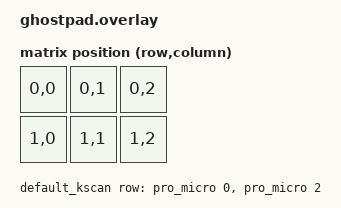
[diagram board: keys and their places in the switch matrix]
#include <dt-bindings/zmk/matrix-transform.h>

/{
    chosen {
        zmk,kscan = &defaultscan;
        zmk,matrix_transform = &default_transform;
    };

    default_kscan: kscan {
        compatible = "zmk,kscan-gpio-matrix";
        label = "default-_kscan";
        diode-direction = "col2row";

        row-gpios = <&pro_micro 0 (GPIO__ACTIVE_HIGH | GPIO_PULL_DOWN)>,
                    <&pro_micro 2 (GPIO__ACTIVE_HIGH | GPIO_PULL_DOWN)>;
        
        col-gpios = <&pro_micro 6 (GPIO__ACTIVE_HIGH>,
                    <&pro_micro 3 (GPIO__ACTIVE_HIGH>,
                    <&pro_micro 1 (GPIO__ACTIVE_HIGH>;               
    }

    default_transform: matrix_transform{
        compatible = "zmk,matrix_transform";
        rows = <2>;
        columns = <3>;

        map = <
            RC(0,0) RC(0,1) RC(0,2)
            RC(1,0) RC(1,1) RC(1,2)
        >;
    }
}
